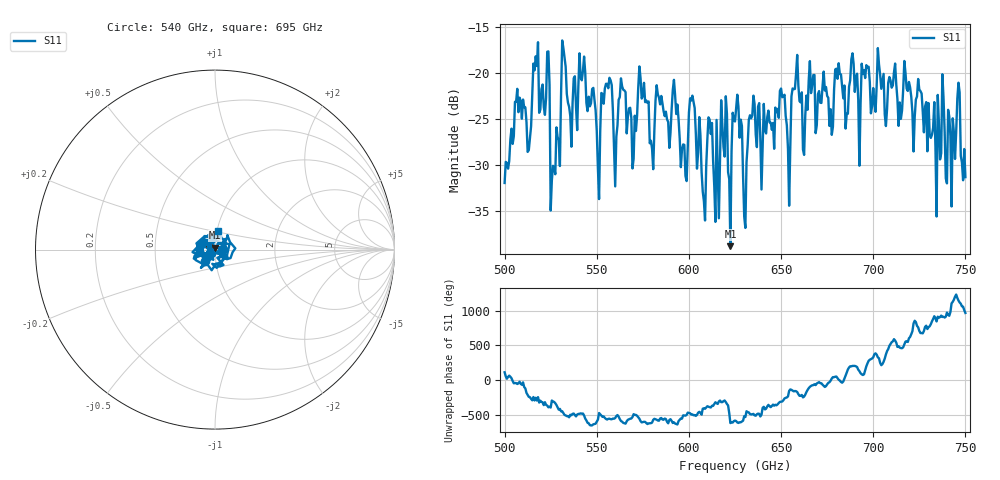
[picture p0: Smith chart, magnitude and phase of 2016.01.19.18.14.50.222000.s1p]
!Created with skrf (http://scikit-rf.org).
# GHz S RI R 50.0
!freq ReS11 ImS11
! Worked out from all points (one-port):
!   401 points, 500 GHz to 750 GHz, reference 50 ohm
!   lowest |S11| = -38.8 dB at 622.5 GHz (marker M1), VSWR 1.02, Z = 49.8 + j1.14 ohm
!   |S11| at or under -10 dB: start of sweep to end of sweep
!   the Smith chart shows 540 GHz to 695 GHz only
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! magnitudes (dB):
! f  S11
! 500 GHz  -31.9
! 506.9 GHz  -21.7
! 513.1 GHz  -28.3
! 516.9 GHz  -18.1
! 523.1 GHz  -17.7
! 526.2 GHz  -30.0
! 531.2 GHz  -16.4
! 541.9 GHz  -20.8
! 550.6 GHz  -30.3
! 555.6 GHz  -21.1
! 562.5 GHz  -22.6
! 593.8 GHz  -23.4
! 598.1 GHz  -31.2
! 601.9 GHz  -22.4
! 608.1 GHz  -33.9
! 611.2 GHz  -25.0
! 622.5 GHz  -38.8
! 625 GHz  -25.2
! 630.6 GHz  -36.8
! 634.4 GHz  -24.6
! 650.6 GHz  -22.6
! 653.8 GHz  -28.2
! 656.2 GHz  -21.6
! 687.5 GHz  -20.8
! 718.8 GHz  -21.9
! 735.6 GHz  -25.4
! 746.2 GHz  -21.0
! 750 GHz  -31.3
